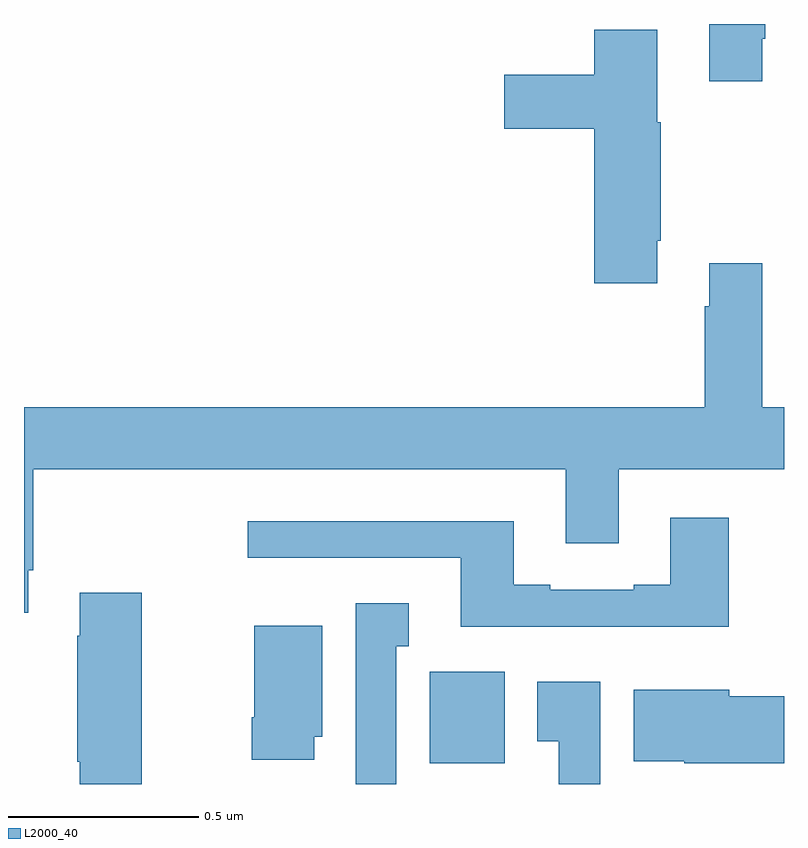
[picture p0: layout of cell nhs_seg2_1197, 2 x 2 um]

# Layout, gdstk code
import gdstk
lib = gdstk.Library(unit=1e-6, precision=1e-09)
def R(c, l, rs):  # rectangles x0, y0, x1, y1
    for r in rs: c.add(gdstk.rectangle(r[:2], r[2:], *l))
def P(c, l, *ps):  # polygons
    for p in ps: c.add(gdstk.Polygon(p, *l))
L2000_40 = (2000, 40)

nhs_seg2_1197 = lib.new_cell('nhs_seg2_1197')
R(nhs_seg2_1197, L2000_40, [(126.068,654.854,126.265,655.096)])
P(nhs_seg2_1197, L2000_40, [(126.943,656.761),(126.951,656.761),(126.951,656.8),(126.803,656.8),(126.803,656.649),(126.943,656.649)],
  [(126.667,656.23),(126.675,656.23),(126.675,656.541),(126.667,656.541),(126.667,656.785),(126.5,656.785),(126.5,656.667),(126.264,656.667),(126.264,656.525),(126.5,656.525),(126.5,656.118),(126.667,656.118)],
  [(125.011,655.363),(125.024,655.363),(125.024,655.628),(126.425,655.628),(126.425,655.434),(126.565,655.434),(126.565,655.628),(127,655.628),(127,655.792),(126.943,655.792),(126.943,656.17),(126.803,656.17),(126.803,656.057),(126.791,656.057),(126.791,655.792),(125,655.792),(125,655.251),(125.011,655.251)],
  [(126.854,655.501),(126.701,655.501),(126.701,655.324),(126.605,655.324),(126.605,655.311),(126.385,655.311),(126.385,655.324),(126.289,655.324),(126.289,655.492),(125.589,655.492),(125.589,655.395),(126.149,655.395),(126.149,655.214),(126.854,655.214)],
  [(125.31,655.303),(125.147,655.303),(125.147,655.19),(125.14,655.19),(125.14,654.859),(125.147,654.859),(125.147,654.8),(125.31,654.8)],
  [(125.98,655.163),(126.013,655.163),(126.013,655.276),(125.873,655.276),(125.873,654.8),(125.98,654.8)],
  [(125.764,654.924),(125.785,654.924),(125.785,655.216),(125.606,655.216),(125.606,654.976),(125.599,654.976),(125.599,654.864),(125.764,654.864)],
  [(126.517,655.069),(126.35,655.069),(126.35,654.913),(126.407,654.913),(126.407,654.8),(126.517,654.8)],
  [(127,655.031),(126.856,655.031),(126.856,655.048),(126.605,655.048),(126.605,654.86),(126.738,654.86),(126.738,654.854),(127,654.854)])

lib.write_gds('nhs_seg2_1197.gds')
